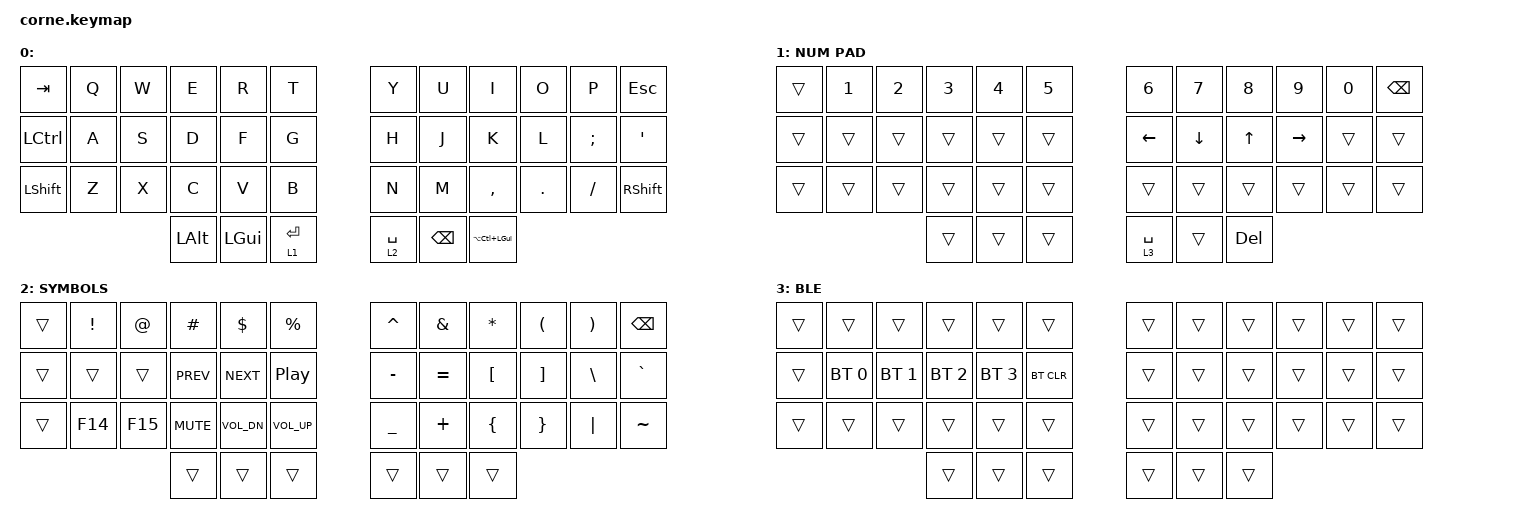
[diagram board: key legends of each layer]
/*
 * Copyright (c) 2020 The ZMK Contributors
 *
 * SPDX-License-Identifier: MIT
 */

#include <behaviors.dtsi>
#include <dt-bindings/zmk/bt.h>
#include <dt-bindings/zmk/keys.h>

/ {
    behaviors {
        tp: tap_preferred {
            compatible = "zmk,behavior-hold-tap";
            label = "TAP_PREFERRED";
            bindings = <&kp>, <&kp>;

            #binding-cells = <2>;
            tapping-term-ms = <100>;
            quick-tap-ms = <0>;
            flavor = "tap-preferred";
        };

        tl: tap_layer {
            compatible = "zmk,behavior-hold-tap";
            label = "TAP_LAYER";
            bindings = <&mo>, <&kp>;

            #binding-cells = <2>;
            tapping-term-ms = <100>;
            quick-tap-ms = <0>;
            flavor = "tap-preferred";
        };
    };

    macros {
        Spotify: Spotify {
            compatible = "zmk,behavior-macro";
            #binding-cells = <0>;
            bindings = <&kp LG(SPACE) &kp LS(S) &kp P &kp O &kp T &kp I &kp F &kp Y &kp RETURN>;
            label = "SPOTIFY";
        };
    };

    keymap {
        compatible = "zmk,keymap";

        default_layer {
            // -----------------------------------------------------------------------------------------
            // |  TAB |  Q  |  W  |  E  |  R  |  T  |   |  Y  |  U   |  I  |  O  |  P  | BSPC |
            // | CTRL |  A  |  S  |  D  |  F  |  G  |   |  H  |  J   |  K  |  L  |  ;  |  '   |
            // | SHFT |  Z  |  X  |  C  |  V  |  B  |   |  N  |  M   |  ,  |  .  |  /  | ESC  |
            //                    | GUI | LWR | SPC |   | ENT | RSE  | ALT |

            bindings = <
&kp TAB    &kp Q  &kp W  &kp E         &kp R         &kp T           &kp Y        &kp U          &kp I                 &kp O    &kp P     &kp ESC
&kp LCTRL  &kp A  &kp S  &kp D         &kp F         &kp G           &kp H        &kp J          &kp K                 &kp L    &kp SEMI  &kp SQT
&kp LSHFT  &kp Z  &kp X  &kp C         &kp V         &kp B           &kp N        &kp M          &kp COMMA             &kp DOT  &kp FSLH  &kp RIGHT_SHIFT
                         &kp LEFT_ALT  &kp LEFT_GUI  &tl 1 RETURN    &tl 2 SPACE  &kp BACKSPACE  &kp LA(LC(LEFT_GUI))
            >;

            label = " ";
        };

        num_arrows {
            // -----------------------------------------------------------------------------------------
            // |  TAB |  1  |  2  |  3  |  4  |  5  |   |  6  |  7  |  8  |  9  |  0  | BSPC |
            // | BTCLR| BT1 | BT2 | BT3 | BT4 | BT5 |   | LFT | DWN |  UP | RGT |     |      |
            // | SHFT |     |     |     |     |     |   |     |     |     |     |     |      |
            //                    | GUI |     | SPC |   | ENT |     | ALT |

            bindings = <
&trans  &kp N1  &kp N2  &kp N3  &kp N4  &kp N5    &kp N6       &kp N7    &kp N8      &kp N9     &kp N0  &kp BSPC
&trans  &trans  &trans  &trans  &trans  &trans    &kp LEFT     &kp DOWN  &kp UP      &kp RIGHT  &trans  &trans
&trans  &trans  &trans  &trans  &trans  &trans    &trans       &trans    &trans      &trans     &trans  &trans
                        &trans  &trans  &trans    &tl 3 SPACE  &trans    &kp DELETE
            >;

            label = "NUM PAD";
        };

        media_symbols {
            // -----------------------------------------------------------------------------------------
            // |  TAB |  !  |  @  |  #  |  $  |  %  |   |  ^  |  &  |  *  |  (  |  )  | BSPC |
            // | CTRL |     |     |     |     |     |   |  -  |  =  |  [  |  ]  |  \  |  `   |
            // | SHFT |     |     |     |     |     |   |  _  |  +  |  {  |  }  | "|" |  ~   |
            //                    | GUI |     | SPC |   | ENT |     | ALT |

            bindings = <
&trans  &kp EXCL  &kp AT   &kp HASH    &kp DLLR      &kp PRCNT       &kp CARET  &kp AMPS   &kp ASTRK  &kp LPAR  &kp RPAR  &kp BSPC
&trans  &trans    &trans   &kp C_PREV  &kp C_NEXT    &kp C_PP        &kp MINUS  &kp EQUAL  &kp LBKT   &kp RBKT  &kp BSLH  &kp GRAVE
&trans  &kp F14   &kp F15  &kp C_MUTE  &kp C_VOL_DN  &kp C_VOL_UP    &kp UNDER  &kp PLUS   &kp LBRC   &kp RBRC  &kp PIPE  &kp TILDE
                           &trans      &trans        &trans          &trans     &trans     &trans
            >;

            label = "SYMBOLS";
        };

        bluetooth {
            bindings = <
&trans  &trans        &trans        &trans        &trans        &trans        &trans  &trans  &trans  &trans  &trans  &trans
&trans  &bt BT_SEL 0  &bt BT_SEL 1  &bt BT_SEL 2  &bt BT_SEL 3  &bt BT_CLR    &trans  &trans  &trans  &trans  &trans  &trans
&trans  &trans        &trans        &trans        &trans        &trans        &trans  &trans  &trans  &trans  &trans  &trans
                                    &trans        &trans        &trans        &trans  &trans  &trans
            >;

            label = "BLE";
        };
    };
};
